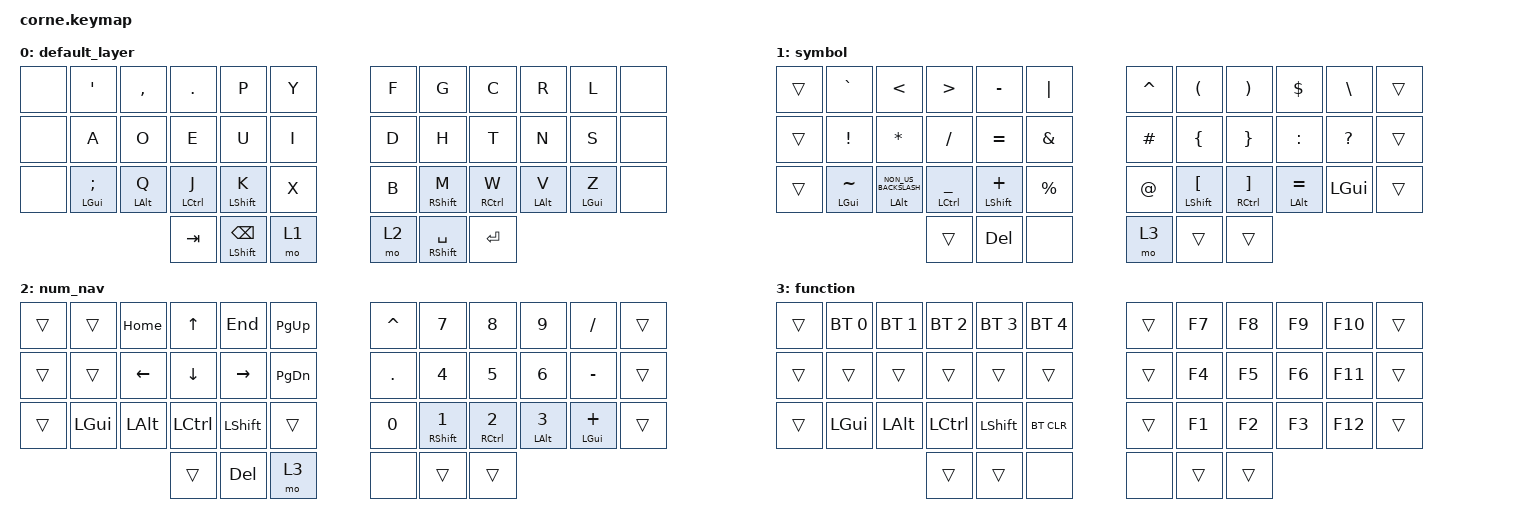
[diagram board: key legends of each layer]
/*
 * Copyright (c) 2020 The ZMK Contributors
 *
 * SPDX-License-Identifier: MIT
 */

#include <behaviors.dtsi>
#include <dt-bindings/zmk/bt.h>
#include <dt-bindings/zmk/keys.h>

/ {
    combos {
        compatible = "zmk,combos";

        capsword {
            bindings = <&caps_word>;
            key-positions = <29 30>;
        };

        dash {
            bindings = <&kp MINUS>;
            key-positions = <22 21>;
        };

        slash {
            bindings = <&kp SLASH>;
            key-positions = <10 9>;
        };

        esc {
            bindings = <&kp ESCAPE>;
            key-positions = <13 14>;
        };
    };

    rpi: require_prior_idle {
        compatible = "zmk,behavior-hold-tap";
        #binding-cells = <2>;
        flavor = "tap-preferred";
        tapping-term-ms = <190>;
        quick-tap-ms = <190>;
        require-prior-idle-ms = <125>;
        bindings = <&kp>, <&kp>;
    };

    keymap {
        compatible = "zmk,keymap";

        default_layer {
            bindings = <
&none  &kp APOSTROPHE     &kp COMMA       &kp PERIOD   &kp P             &kp Y    &kp F  &kp G              &kp C        &kp R           &kp L           &none
&none  &kp A              &kp O           &kp E        &kp U             &kp I    &kp D  &kp H              &kp T        &kp N           &kp S           &none
&none  &rpi LEFT_GUI SEMI &rpi LEFT_ALT Q &rpi LCTRL J &rpi LEFT_SHIFT K &kp X   &kp B  &rpi RIGHT_SHIFT M &rpi RCTRL W &rpi LEFT_ALT V &rpi LEFT_GUI Z  &none
                                          &kp TAB      &rpi LEFT_SHIFT BACKSPACE     &mo 1    &mo 2  &rpi RIGHT_SHIFT SPACE          &kp ENTER
            >;
        };

        symbol {
            bindings = <
&trans  &kp GRAVE           &kp LESS_THAN                  &kp GREATER_THAN  &kp MINUS            &kp PIPE         &kp CARET    &kp LEFT_PARENTHESIS         &kp RIGHT_PARENTHESIS    &kp DOLLAR          &kp BACKSLASH  &trans
&trans  &kp EXCLAMATION     &kp ASTERISK                   &kp SLASH         &kp EQUAL            &kp AMPERSAND    &kp HASH     &kp LEFT_BRACE               &kp RIGHT_BRACE          &kp COLON           &kp QUESTION   &trans
&trans  &rpi LEFT_GUI TILDE &rpi LEFT_ALT NON_US_BACKSLASH &rpi LCTRL UNDER  &rpi LEFT_SHIFT PLUS &kp PERCENT      &kp AT_SIGN  &rpi LEFT_SHIFT LEFT_BRACKET  &rpi RCTRL RIGHT_BRACKET  &rpi LEFT_ALT EQUAL  &kp LEFT_GUI   &trans
                                                           &trans            &kp DELETE           &none            &mo 3        &trans                       &trans
            >;
        };

        num_nav {
            bindings = <
&trans  &trans        &kp HOME      &kp UP_ARROW    &kp END          &kp PG_UP        &kp CARET   &kp N7                    &kp N8              &kp N9                 &kp SLASH          &trans
&trans  &trans        &kp LEFT      &kp DOWN_ARROW  &kp RIGHT_ARROW  &kp PAGE_DOWN    &kp PERIOD  &kp NUMBER_4              &kp N5              &kp NUMBER_6           &kp MINUS          &trans
&trans  &kp LEFT_GUI  &kp LEFT_ALT  &kp LCTRL       &kp LEFT_SHIFT   &trans           &kp N0      &rpi RIGHT_SHIFT NUMBER_1  &rpi RCTRL NUMBER_2  &rpi LEFT_ALT NUMBER_3  &rpi LEFT_GUI PLUS  &trans
                                    &trans          &kp DELETE       &mo 3            &none       &trans                    &trans
            >;
        };

        function {
            bindings = <
&trans  &bt BT_SEL 0  &bt BT_SEL 1  &bt BT_SEL 2  &bt BT_SEL 3    &bt BT_SEL 4    &trans  &kp F7  &kp F8  &kp F9  &kp F10  &trans
&trans  &trans        &trans        &trans        &trans          &trans          &trans  &kp F4  &kp F5  &kp F6  &kp F11  &trans
&trans  &kp LEFT_GUI  &kp LEFT_ALT  &kp LCTRL     &kp LEFT_SHIFT  &bt BT_CLR      &trans  &kp F1  &kp F2  &kp F3  &kp F12  &trans
                                    &trans        &trans          &none           &none   &trans  &trans
            >;
        };
    };
};
